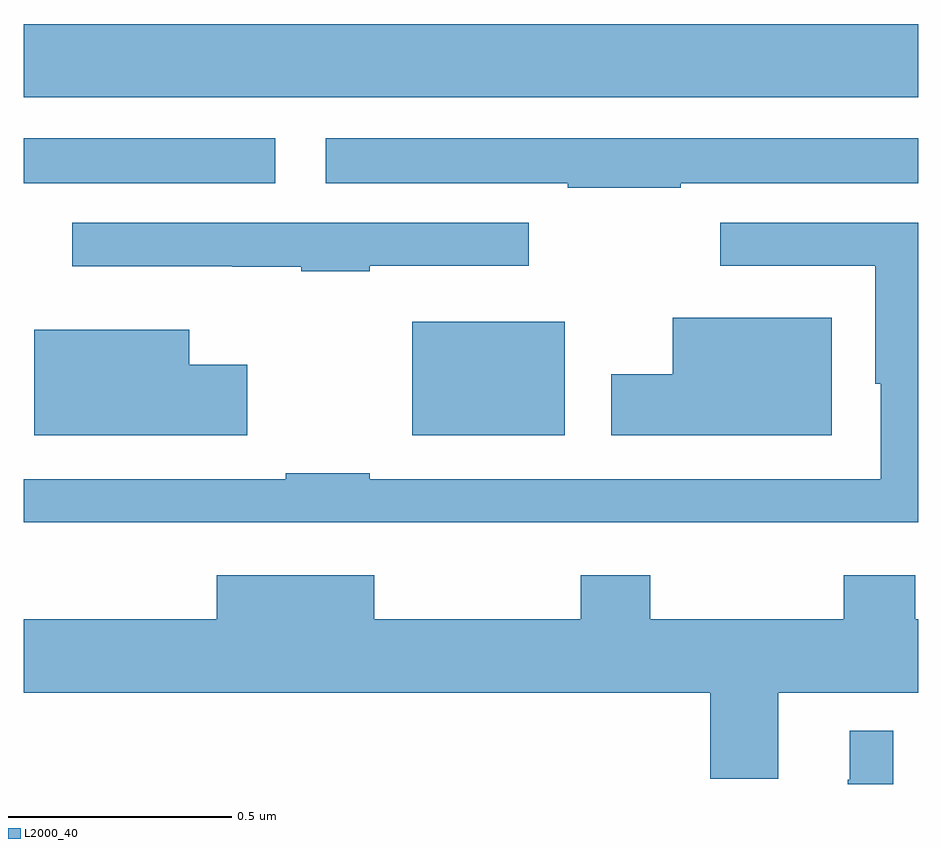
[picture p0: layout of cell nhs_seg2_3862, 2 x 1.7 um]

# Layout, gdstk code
import gdstk
lib = gdstk.Library(unit=1e-6, precision=1e-09)
def R(c, l, rs):  # rectangles x0, y0, x1, y1
    for r in rs: c.add(gdstk.rectangle(r[:2], r[2:], *l))
def P(c, l, *ps):  # polygons
    for p in ps: c.add(gdstk.Polygon(p, *l))
L2000_40 = (2000, 40)

nhs_seg2_3862 = lib.new_cell('nhs_seg2_3862')
R(nhs_seg2_3862, L2000_40, [(159.869,613.58,160.21,613.834), (159,614.144,159.562,614.245), (159,614.336,161,614.5)])
P(nhs_seg2_3862, L2000_40, [(160.469,614.144),(161,614.144),(161,614.245),(159.675,614.245),(159.675,614.144),(160.216,614.144),(160.216,614.134),(160.469,614.134)],
  [(159.335,613.386),(159.88,613.386),(159.88,613.385),(160.157,613.385),(160.157,613.386),(160.489,613.386),(160.489,613.385),(160.745,613.385),(160.745,613.386),(161,613.386),(161,614.055),(160.557,614.055),(160.557,613.959),(160.904,613.959),(160.904,613.695),(160.917,613.695),(160.917,613.482),(159.773,613.482),(159.773,613.495),(159.586,613.495),(159.586,613.482),(159,613.482),(159,613.386),(159.079,613.386),(159.079,613.385),(159.335,613.385)],
  [(159.773,613.959),(160.129,613.959),(160.129,614.055),(159.108,614.055),(159.108,613.958),(159.466,613.958),(159.466,613.957),(159.62,613.957),(159.62,613.947),(159.773,613.947)],
  [(160.807,613.843),(160.451,613.843),(160.451,613.716),(160.314,613.716),(160.314,613.58),(160.807,613.58)],
  [(159.499,613.738),(159.37,613.738),(159.37,613.816),(159.023,613.816),(159.023,613.58),(159.499,613.58)],
  [(160.687,613.004),(161,613.004),(161,613.168),(160.994,613.168),(160.994,613.267),(160.834,613.267),(160.834,613.168),(160.401,613.168),(160.401,613.267),(160.246,613.267),(160.246,613.168),(159.784,613.168),(159.784,613.267),(159.431,613.267),(159.431,613.168),(159,613.168),(159,613.004),(160.535,613.004),(160.535,612.812),(160.687,612.812)],
  [(160.945,612.919),(160.847,612.919),(160.847,612.809),(160.843,612.809),(160.843,612.8),(160.945,612.8)])

lib.write_gds('nhs_seg2_3862.gds')
